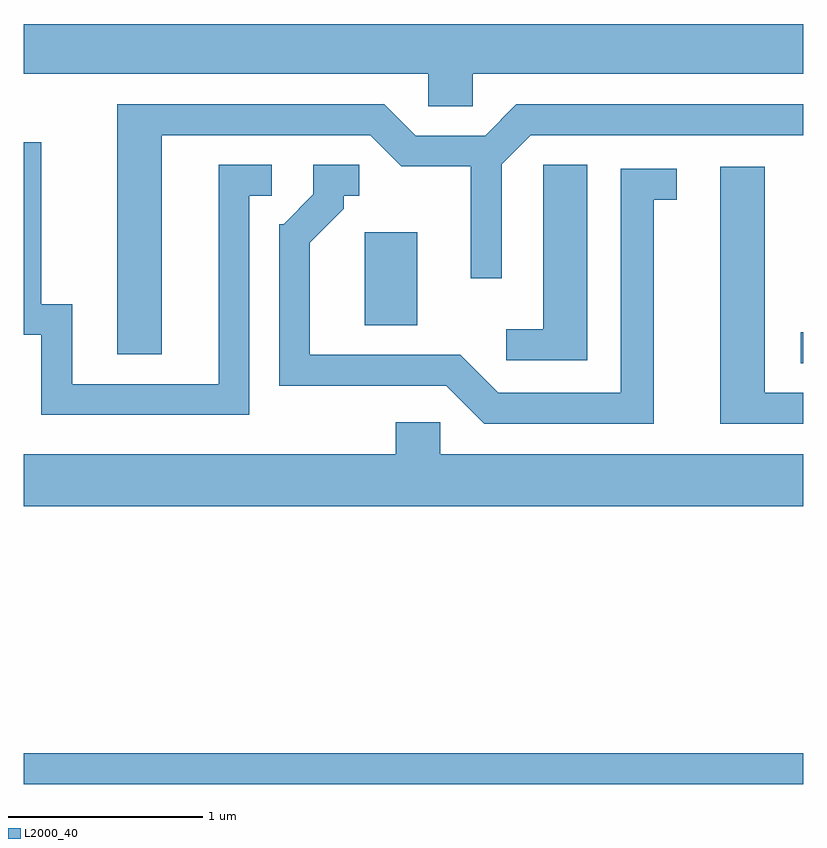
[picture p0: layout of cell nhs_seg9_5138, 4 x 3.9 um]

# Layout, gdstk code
import gdstk
lib = gdstk.Library(unit=1e-6, precision=1e-09)
def R(c, l, rs):  # rectangles x0, y0, x1, y1
    for r in rs: c.add(gdstk.rectangle(r[:2], r[2:], *l))
def P(c, l, *ps):  # polygons
    for p in ps: c.add(gdstk.Polygon(p, *l))
L2000_40 = (2000, 40)

nhs_seg9_5138 = lib.new_cell('nhs_seg9_5138')
R(nhs_seg9_5138, L2000_40, [(335.611,2072.531,339.611,2072.689), (339.598,2074.691,339.611,2074.849), (337.361,2074.886,337.629,2075.364)])
P(nhs_seg9_5138, L2000_40, [(337.914,2076.176),(339.611,2076.176),(339.611,2076.432),(335.611,2076.432),(335.611,2076.176),(337.686,2076.176),(337.686,2076.011),(337.914,2076.011)],
  [(336.319,2075.861),(337.389,2075.861),(337.549,2075.701),(337.906,2075.701),(337.906,2075.128),(338.064,2075.128),(338.064,2075.713),(338.212,2075.861),(339.611,2075.861),(339.611,2076.019),(338.139,2076.019),(337.979,2075.859),(337.622,2075.859),(337.462,2076.019),(336.091,2076.019),(336.091,2074.736),(336.319,2074.736)],
  [(336.769,2075.551),(336.883,2075.551),(336.883,2075.709),(336.611,2075.709),(336.611,2074.584),(335.859,2074.584),(335.859,2074.994),(335.699,2074.994),(335.699,2075.824),(335.611,2075.824),(335.611,2074.836),(335.701,2074.836),(335.701,2074.426),(336.769,2074.426)],
  [(338.504,2075.709),(338.276,2075.709),(338.276,2074.864),(338.088,2074.864),(338.088,2074.706),(338.504,2074.706)],
  [(338.844,2075.531),(338.963,2075.531),(338.963,2075.689),(338.676,2075.689),(338.676,2074.539),(338.047,2074.539),(337.852,2074.734),(337.079,2074.734),(337.079,2075.309),(337.254,2075.483),(337.254,2075.551),(337.333,2075.551),(337.333,2075.709),(337.096,2075.709),(337.096,2075.557),(336.944,2075.404),(336.921,2075.404),(336.921,2074.576),(337.779,2074.576),(337.974,2074.381),(338.844,2074.381)],
  [(339.611,2074.539),(339.414,2074.539),(339.414,2075.699),(339.186,2075.699),(339.186,2074.381),(339.611,2074.381)],
  [(339.611,2074.224),(337.749,2074.224),(337.749,2074.389),(337.521,2074.389),(337.521,2074.224),(335.611,2074.224),(335.611,2073.956),(339.611,2073.956)])

lib.write_gds('nhs_seg9_5138.gds')
